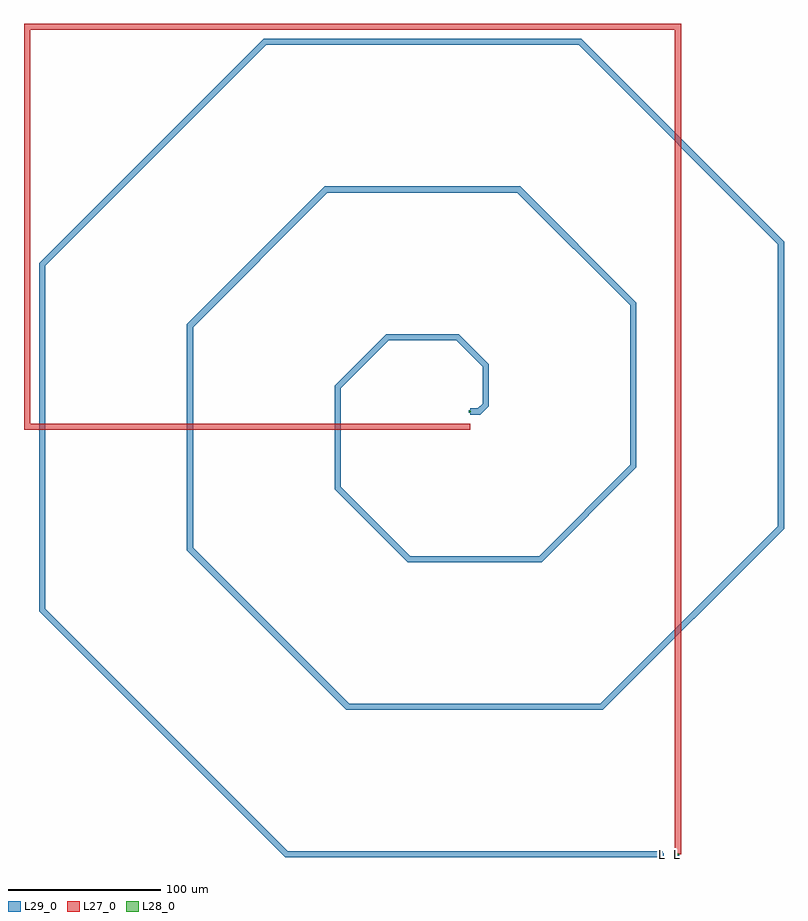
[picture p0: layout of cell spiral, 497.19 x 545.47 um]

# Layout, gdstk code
import gdstk
lib = gdstk.Library(unit=1e-6, precision=5e-10)
def R(c, l, rs):  # rectangles x0, y0, x1, y1
    for r in rs: c.add(gdstk.rectangle(r[:2], r[2:], *l))
def P(c, l, *ps):  # polygons
    for p in ps: c.add(gdstk.Polygon(p, *l))
L27_0 = (27, 0)
L28_0 = (28, 0)
L29_0 = (29, 0)

spiral = lib.new_cell('spiral')
R(spiral, L27_0, [(135.6,-290.105,136.4,-289.305), (-0.4,-0.4,0.4,0.4)])
P(spiral, L27_0, [(134,-289.705),(134,249.765),(-287.805,249.765),(-287.805,-8),(0,-8),(0,-12),(-291.805,-12),(-291.805,253.765),(138,253.765),(138,-289.705)])
R(spiral, L28_0, [(135.6,-290.105,136.4,-289.305), (-0.4,-0.4,0.4,0.4)])
R(spiral, L29_0, [(125.2,-290.505,126.8,-288.905), (135.2,-290.505,136.8,-288.905), (135.6,-290.105,136.4,-289.305), (-0.8,-0.8,0.8,0.8), (-0.4,-0.4,0.4,0.4)])
P(spiral, L29_0, [(-120.83,-291.705),(-281.805,-130.73),(-281.805,96.93),(-134.97,243.765),(72.69,243.765),(205.38,111.075),(205.38,-76.585),(86.83,-195.135),(-80.83,-195.135),(-185.24,-90.73),(-185.24,56.93),(-94.97,147.195),(32.69,147.195),(108.81,71.075),(108.81,-36.585),(46.83,-98.57),(-40.83,-98.57),(-88.67,-50.73),(-88.67,16.93),(-54.97,50.625),(-7.31,50.625),(12.245,31.075),(12.245,3.415),(6.83,-2),(0,-2),(0,2),(5.17,2),(8.245,5.075),(8.245,29.415),(-8.97,46.625),(-53.31,46.625),(-84.67,15.27),(-84.67,-49.07),(-39.17,-94.57),(45.17,-94.57),(104.81,-34.925),(104.81,69.415),(31.03,143.195),(-93.31,143.195),(-181.24,55.27),(-181.24,-89.07),(-79.17,-191.135),(85.17,-191.135),(201.38,-74.925),(201.38,109.415),(71.03,239.765),(-133.31,239.765),(-277.805,95.27),(-277.805,-129.07),(-119.17,-287.705),(126,-287.705),(126,-291.705)])
spiral.add(gdstk.Label('L', (126,-289.705), layer=29, texttype=1))
spiral.add(gdstk.Label('L', (136,-289.705), layer=29, texttype=1))
spiral.add(gdstk.Label('L', (126,-289.705), layer=29, texttype=1))

lib.write_gds('spiral.gds')
